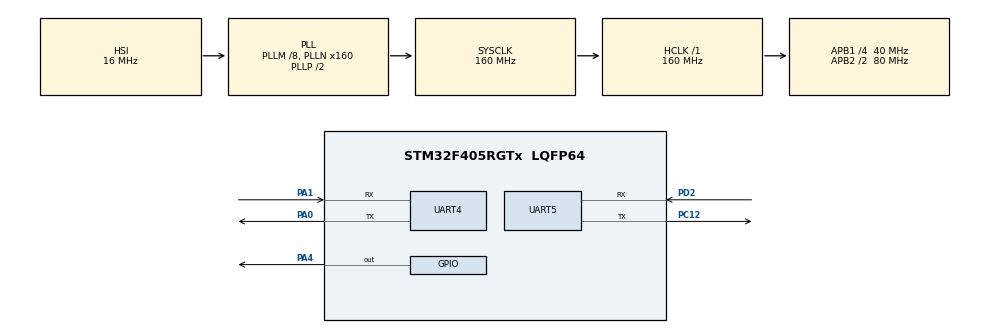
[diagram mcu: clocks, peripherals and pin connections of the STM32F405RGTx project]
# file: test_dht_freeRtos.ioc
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Dma.Request0=UART4_RX
Dma.UART4_RX.0.Direction=DMA_PERIPH_TO_MEMORY
Dma.UART4_RX.0.FIFOMode=DMA_FIFOMODE_DISABLE
Dma.UART4_RX.0.Instance=DMA1_Stream2
Dma.UART4_RX.0.MemDataAlignment=DMA_MDATAALIGN_BYTE
Dma.UART4_RX.0.MemInc=DMA_MINC_ENABLE
Dma.UART4_RX.0.Mode=DMA_CIRCULAR
Dma.UART4_RX.0.PeriphDataAlignment=DMA_PDATAALIGN_BYTE
Dma.UART4_RX.0.PeriphInc=DMA_PINC_DISABLE
Dma.UART4_RX.0.Priority=DMA_PRIORITY_LOW
Mcu.Family=STM32F4
Mcu.Name=STM32F405RGTx
Mcu.Package=LQFP64
NVIC.DMA1_Stream2_IRQn=true\:0\:0\:false\:false\:true\:false\:true\:true
NVIC.PriorityGroup=NVIC_PRIORITYGROUP_4
NVIC.TIM6_DAC_IRQn=true\:15\:0\:false\:false\:true\:false\:true\:true
NVIC.TimeBase=TIM6_DAC_IRQn
NVIC.TimeBaseIP=TIM6
NVIC.UART4_IRQn=true\:0\:0\:false\:false\:true\:true\:true\:true
PA0-WKUP.Mode=Asynchronous
PA0-WKUP.Signal=UART4_TX
PA1.Mode=Asynchronous
PA1.Signal=UART4_RX
PA13.Mode=Serial_Wire
PA13.Signal=SYS_JTMS-SWDIO
PA14.Mode=Serial_Wire
PA14.Signal=SYS_JTCK-SWCLK
PA4.Signal=GPIO_Output
PC12.Mode=Asynchronous
PC12.Signal=UART5_TX
PD2.Mode=Asynchronous
PD2.Signal=UART5_RX
PH0-OSC_IN.Mode=HSE-External-Oscillator
PH0-OSC_IN.Signal=RCC_OSC_IN
PH1-OSC_OUT.Mode=HSE-External-Oscillator
PH1-OSC_OUT.Signal=RCC_OSC_OUT
ProjectManager.HeapSize=0x200
ProjectManager.StackSize=0x400
ProjectManager.TargetToolchain=STM32CubeIDE
RCC.48MHZClocksFreq_Value=80000000
RCC.AHBFreq_Value=160000000
RCC.APB1CLKDivider=RCC_HCLK_DIV4
RCC.APB1Freq_Value=40000000
RCC.APB1TimFreq_Value=80000000
RCC.APB2CLKDivider=RCC_HCLK_DIV2
RCC.APB2Freq_Value=80000000
RCC.APB2TimFreq_Value=160000000
RCC.CortexFreq_Value=160000000
RCC.HCLKFreq_Value=160000000
RCC.HSE_VALUE=25000000
RCC.HSI_VALUE=16000000
RCC.LSE_VALUE=32768
RCC.PLLM=8
RCC.PLLN=160
RCC.SYSCLKFreq_VALUE=160000000
RCC.SYSCLKSource=RCC_SYSCLKSOURCE_PLLCLK
RCC.VCOOutputFreq_Value=320000000
UART4.VirtualMode=Asynchronous
UART5.VirtualMode=Asynchronous
VP_SYS_VS_tim6.Mode=TIM6
board=custom

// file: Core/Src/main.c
/* USER CODE BEGIN Header */
/**
  ******************************************************************************
  * @file           : main.c
  * @brief          : Main program body
  ******************************************************************************
  * @attention
  *
  * Copyright (c) 2026 STMicroelectronics.
  * All rights reserved.
  *
  * This software is licensed under terms that can be found in the LICENSE file
  * in the root directory of this software component.
  * If no LICENSE file comes with this software, it is provided AS-IS.
  *
  ******************************************************************************
  */
/* USER CODE END Header */
#include "main.h"

/* USER CODE BEGIN Includes */
#include "FreeRTOS.h"
#include "task.h"
#include "dht11.h"
#include "sensor_util.h"
#include <stdio.h>
#include "application_config.h"
#include "mqtt_helper.h"
#include "queue.h"
/* USER CODE END Includes */

/* USER CODE BEGIN PM */
dht11_data_t dht11_data;
/* USER CODE END PM */

UART_HandleTypeDef huart4;
UART_HandleTypeDef huart5;
DMA_HandleTypeDef hdma_uart4_rx;

QueueHandle_t mqtt_tx_queue;
QueueHandle_t mqtt_rx_queue;
/* USER CODE BEGIN PV */

void mqtt_publish_task(void *parameters)
{
    float temperature = 0.0f;
    uint8_t humidity = 0;
   mqtt_queue_item_t item = {
      .operation = MQTT_OPERATION_PUBLISH,
      .topic = SENSOR_DATA_TOPIC,
      .topic_length = strlen(SENSOR_DATA_TOPIC),
    };

    while (1)
    {
        // Read sensor via abstraction layer
        get_temperature_reading(&temperature);
        get_humidity_reading(&humidity);
//        printf ("Sensor Readings - Temperature: %.2f C, Humidity: %u%%",
//               temperature, humidity);

     LogDebug(("Sensor Readings - Temperature: %.2f C, Humidity: %u%%",
                  temperature, humidity));

        // Format JSON payload
       size_t payload_len = snprintf((char*)item.payload,sizeof(item.payload),"{\"temp\": %.2f, \"humidity\": %u}",temperature,humidity);
       item.payload_length = payload_len;
      // post an item to the queue
      if (xQueueSend(mqtt_tx_queue, &item, portMAX_DELAY) == pdPASS) {
          LogInfo(("Queue MQTT publish: Topic='%s'.", SENSOR_DATA_TOPIC));
      } else {
          LogError(("Failed to queue MQTT publish: Topic='%s'.", SENSOR_DATA_TOPIC));

    }
        vTaskDelay(pdMS_TO_TICKS(MQTT_PUBLISH_TIME_BETWEEN_MS));
   }
}

void mqtt_receive_task(void *parameters) {

  mqtt_queue_item_t item = { 0 };

  while(1) {

    BaseType_t rc = xQueueReceive(mqtt_rx_queue, &item, portMAX_DELAY);

    configASSERT(rc == pdPASS);

    // Check if both topic and payload contain valid data
    if (item.operation == MQTT_OPERATION_RECEIVE &&
        item.topic_length   > 0 &&
        item.payload_length > 0) {

      // Log the received message
      LogInfo(("\r\nReceived message:"));
      LogInfo(("Topic: %.*s", (int)item.topic_length, item.topic));
      LogInfo(("Message: %.*s", (int)item.payload_length, item.payload));
    } else {
    	LogInfo(("Faiil Receive"));
    }
  }
}

void at_cmd_handle_task(void *parameters) {

  (void)parameters;

  static mqtt_queue_item_t item = { 0 };
  static mqtt_queue_item_t new_message = { 0 };

  mqtt_receive_t mqtt_data = { 0 };
  mqtt_status_t status = MQTT_ERROR;

  static char topic_buffer[MAX_MQTT_TOPIC_SIZE];
  static char payload_buffer[MAX_MQTT_PAYLOAD_SIZE];

  mqtt_data.p_payload = payload_buffer;
  mqtt_data.p_topic = topic_buffer;
  mqtt_data.topic_length = sizeof(topic_buffer);
  mqtt_data.payload_length = sizeof(payload_buffer);

  LogInfo(("at_cmd_handle_task started")); //test

  while(1) {
	   //test
    //1. De-queue MQTT TX queue
    if (xQueueReceive(mqtt_tx_queue, &item, 0) == pdPASS) {
    	//LogInfo(("Got item from TX queue")); //test

      if (item.operation == MQTT_OPERATION_PUBLISH) {
    	 // LogInfo(("Publishing: %.*s",
    	               //   (int)item.payload_length, (char*)item.payload));  // test

        //2. Send MQTT publish AT command using mqtt_publish() (check mqtt_helper.c)
        status = mqtt_publish(item.topic, item.topic_length,
                              item.payload, item.payload_length);

        if (status == MQTT_SUCCESS) {
          LogInfo(("MQTT Publish successful: Topic='%.*s', Payload='%.*s'",
                   (int)item.topic_length, item.topic,
                   (int)item.payload_length, (char *)item.payload));
        } else  {
          LogError(("MQTT Publish failed: Topic='%.*s'",
                    (int)item.topic_length, item.topic));
        }

      }
    }
      else if (item.operation == MQTT_OPERATION_SUBSCRIBE) {

        //2. Send MQTT subscribe AT command using mqtt_subscribe() (check mqtt_helper.c)
        status = mqtt_subscribe(item.topic, item.topic_length);
        if (status == MQTT_SUCCESS) {
            LogInfo(("MQTT Subscribe successful: Topic='%.*s'",
                     (int)item.topic_length, item.topic));
        } else {
            LogError(("MQTT Subscribe failed: Topic='%.*s'",
                      (int)item.topic_length, item.topic));
        }
      }

    //3. Check for incoming MQTT data (check esp32_recv_mqtt_data() in esp32_at.c)
    esp32_status_t rx_status = esp32_recv_mqtt_data(&mqtt_data);

    if (rx_status != ESP32_ERROR && mqtt_data.payload_length > 0) {
      new_message.operation = MQTT_OPERATION_RECEIVE;
      new_message.payload_length = mqtt_data.payload_length;
      new_message.topic_length = mqtt_data.topic_length;
      memcpy(new_message.payload, mqtt_data.p_payload, mqtt_data.payload_length);
      memcpy(new_message.topic, mqtt_data.p_topic, mqtt_data.topic_length);

      if (xQueueSend(mqtt_rx_queue, &new_message, 0) == pdPASS) {
          LogInfo(("Queued MQTT receive: Topic='%.*s'",
                   (int)new_message.topic_length, new_message.topic));
      }
   }
  //  vTaskDelay(pdMS_TO_TICKS(100));
}
}

/* USER CODE END PV */

void SystemClock_Config(void);
static void MX_GPIO_Init(void);
static void MX_DMA_Init(void);
static void MX_UART5_Init(void);
static void MX_UART4_Init(void);

int main(void)
{

  /* MCU Configuration--------------------------------------------------------*/

  /* Reset of all peripherals, Initializes the Flash interface and the Systick. */
  HAL_Init();

  /* Configure the system clock */
  SystemClock_Config();

  /* Initialize all configured peripherals */
  MX_GPIO_Init();
  MX_DMA_Init();
  MX_UART5_Init();
  MX_UART4_Init();
  dht11_init();
  init_temperature_humidity_sensor();

  /* USER CODE BEGIN 2 */
  /* Step 1: Initialize ESP32 AT module */
    LogInfo(("Initializing ESP32 AT module...\r\n"));
    if (esp32_init() != ESP32_OK) {
       LogError(("Failed to initialize ESP32 AT module.\r\n"));
        Error_Handler();
   }
    LogInfo(("ESP32 AT module initialized successfully.\r\n"));

   /*Step 2: Connect to Wi-Fi network */
    LogInfo(("Joining Access Point: '%s'...", WIFI_SSID));
    /* Keep attemping to connect to the specified accesss point until
     * successful */
    while (esp32_join_ap((uint8_t *)WIFI_SSID,
                                 (uint8_t *)WIFI_PASSWORD) != ESP32_OK) {
        LogInfo(("Retrying to join Access Point: %s", WIFI_SSID));
                                }
    LogInfo(("Successfully joined Access Point: %s", WIFI_SSID));

    /* Step 3: Configure SNTP for time synchronization */
    /* Configure simple NetWork Time Protocol*/
     if (esp32_config_sntp(UTC_OFFSET) != ESP32_OK) {
         LogError(("Failed to configure SNTP."));
         Error_Handler();
        }

        /* Retrieve the current time from SNTP */
        sntp_time_t sntp_time;
        if (esp32_get_sntp_time(&sntp_time) != ESP32_OK) {
           LogError(("Failed to retrieve current time from SNTP."));
            Error_Handler();
        }
        LogInfo(("Current time: %s %s %02d %04d %02d:%02d:%02d",
                sntp_time.day,
              sntp_time.month,
                sntp_time.date,
               sntp_time.year,
                sntp_time.hour,
               sntp_time.min,
               sntp_time.sec));

      /* Step 4 Configure the MQTT client and Step 5: Establish MQTT connection */
     LogInfo(("Connecting to MQTT broker at %s:%d...", MQTT_BROKER, MQTT_PORT));
      if (mqtt_connect(CLIENT_ID, MQTT_BROKER, MQTT_PORT) != MQTT_SUCCESS) {
          LogError(("Failed to connect to MQTT broker."));
          Error_Handler();
     }
     LogInfo(("Successfully connected to MQTT broker."));

     LogInfo(("Subscribing to topic: %s", SENSOR_DATA_TOPIC));
       if (mqtt_subscribe(SENSOR_DATA_TOPIC, strlen(SENSOR_DATA_TOPIC)) != MQTT_SUCCESS) {
         LogError(("Subscription to topic '%s' failed.", SENSOR_DATA_TOPIC));
         Error_Handler();
       }
       LogInfo(("Successfully Subscribed to topic: %s", SENSOR_DATA_TOPIC));

       /* Create queue */
      // tra size trước
       LogInfo(("sizeof(mqtt_queue_item_t) = %d bytes", sizeof(mqtt_queue_item_t)));
       LogInfo(("Free heap before queue: %d bytes", xPortGetFreeHeapSize()));
         mqtt_tx_queue = xQueueCreate(5, sizeof(mqtt_queue_item_t));
         mqtt_rx_queue = xQueueCreate(10, sizeof(mqtt_queue_item_t));
         if (mqtt_tx_queue == NULL || mqtt_rx_queue == NULL) {
             LogError(("Queue creation failed."));
             Error_Handler();
         } else {
             LogInfo(("MQTT TX and RX queues created successfully."));
		LogInfo(("Free heap after queue: %d bytes", xPortGetFreeHeapSize()));
         }

      /* Create 2 Freertos tasks */
       BaseType_t status;
       status = xTaskCreate(mqtt_publish_task, "Public sensor data", 2048, NULL, 2, NULL);
       configASSERT(status == pdPASS);

       status = xTaskCreate(mqtt_receive_task, "Receive sensor data", 2048, NULL, 2, NULL);
        configASSERT(status == pdPASS);

        status = xTaskCreate(at_cmd_handle_task, "MQTT send and receive", 2048, NULL, 2, NULL);
        configASSERT(status == pdPASS);

        vTaskStartScheduler();

  /* USER CODE END 2 */

  /* Infinite loop */
  while (1)
  {

  }
}

void SystemClock_Config(void)
{
  RCC_OscInitTypeDef RCC_OscInitStruct = {0};
  RCC_ClkInitTypeDef RCC_ClkInitStruct = {0};

  /** Configure the main internal regulator output voltage
  */
  __HAL_RCC_PWR_CLK_ENABLE();
  __HAL_PWR_VOLTAGESCALING_CONFIG(PWR_REGULATOR_VOLTAGE_SCALE1);

  /** Initializes the RCC Oscillators according to the specified parameters
  * in the RCC_OscInitTypeDef structure.
  */
  RCC_OscInitStruct.OscillatorType = RCC_OSCILLATORTYPE_HSI;
  RCC_OscInitStruct.HSIState = RCC_HSI_ON;
  RCC_OscInitStruct.HSICalibrationValue = RCC_HSICALIBRATION_DEFAULT;
  RCC_OscInitStruct.PLL.PLLState = RCC_PLL_ON;
  RCC_OscInitStruct.PLL.PLLSource = RCC_PLLSOURCE_HSI;
  RCC_OscInitStruct.PLL.PLLM = 8;
  RCC_OscInitStruct.PLL.PLLN = 160;
  RCC_OscInitStruct.PLL.PLLP = RCC_PLLP_DIV2;
  RCC_OscInitStruct.PLL.PLLQ = 4;
  if (HAL_RCC_OscConfig(&RCC_OscInitStruct) != HAL_OK)
  {
    Error_Handler();
  }

  /** Initializes the CPU, AHB and APB buses clocks
  */
  RCC_ClkInitStruct.ClockType = RCC_CLOCKTYPE_HCLK|RCC_CLOCKTYPE_SYSCLK
                              |RCC_CLOCKTYPE_PCLK1|RCC_CLOCKTYPE_PCLK2;
  RCC_ClkInitStruct.SYSCLKSource = RCC_SYSCLKSOURCE_PLLCLK;
  RCC_ClkInitStruct.AHBCLKDivider = RCC_SYSCLK_DIV1;
  RCC_ClkInitStruct.APB1CLKDivider = RCC_HCLK_DIV4;
  RCC_ClkInitStruct.APB2CLKDivider = RCC_HCLK_DIV2;

  if (HAL_RCC_ClockConfig(&RCC_ClkInitStruct, FLASH_LATENCY_5) != HAL_OK)
  {
    Error_Handler();
  }
}

static void MX_UART4_Init(void)
{

  huart4.Instance = UART4;
  huart4.Init.BaudRate = 115200;
  huart4.Init.WordLength = UART_WORDLENGTH_8B;
  huart4.Init.StopBits = UART_STOPBITS_1;
  huart4.Init.Parity = UART_PARITY_NONE;
  huart4.Init.Mode = UART_MODE_TX_RX;
  huart4.Init.HwFlowCtl = UART_HWCONTROL_NONE;
  huart4.Init.OverSampling = UART_OVERSAMPLING_16;
  if (HAL_UART_Init(&huart4) != HAL_OK)
  {
    Error_Handler();
  }

}

static void MX_UART5_Init(void)
{

  huart5.Instance = UART5;
  huart5.Init.BaudRate = 115200;
  huart5.Init.WordLength = UART_WORDLENGTH_8B;
  huart5.Init.StopBits = UART_STOPBITS_1;
  huart5.Init.Parity = UART_PARITY_NONE;
  huart5.Init.Mode = UART_MODE_TX_RX;
  huart5.Init.HwFlowCtl = UART_HWCONTROL_NONE;
  huart5.Init.OverSampling = UART_OVERSAMPLING_16;
  if (HAL_UART_Init(&huart5) != HAL_OK)
  {
    Error_Handler();
  }

}

static void MX_DMA_Init(void)
{

  /* DMA controller clock enable */
  __HAL_RCC_DMA1_CLK_ENABLE();

  /* DMA interrupt init */
  /* DMA1_Stream2_IRQn interrupt configuration */
  HAL_NVIC_SetPriority(DMA1_Stream2_IRQn, 0, 0);
  HAL_NVIC_EnableIRQ(DMA1_Stream2_IRQn);

}

static void MX_GPIO_Init(void)
{
  GPIO_InitTypeDef GPIO_InitStruct = {0};

  /* GPIO Ports Clock Enable */
  __HAL_RCC_GPIOH_CLK_ENABLE();
  __HAL_RCC_GPIOA_CLK_ENABLE();
  __HAL_RCC_GPIOC_CLK_ENABLE();
  __HAL_RCC_GPIOD_CLK_ENABLE();

  /*Configure GPIO pin Output Level */
  HAL_GPIO_WritePin(GPIOA, GPIO_PIN_4, GPIO_PIN_RESET);

  /*Configure GPIO pin : PA4 */
//  GPIO_InitStruct.Pin = GPIO_PIN_4;
//  GPIO_InitStruct.Mode = GPIO_MODE_OUTPUT_PP;
//  GPIO_InitStruct.Pull = GPIO_NOPULL;
//  GPIO_InitStruct.Speed = GPIO_SPEED_FREQ_LOW;
//  HAL_GPIO_Init(GPIOA, &GPIO_InitStruct);

}

void HAL_TIM_PeriodElapsedCallback(TIM_HandleTypeDef *htim)
{
  if (htim->Instance == TIM6)
  {
    HAL_IncTick();
  }
}

void Error_Handler(void)
{
  __disable_irq();
  while (1)
  {
  }
}
